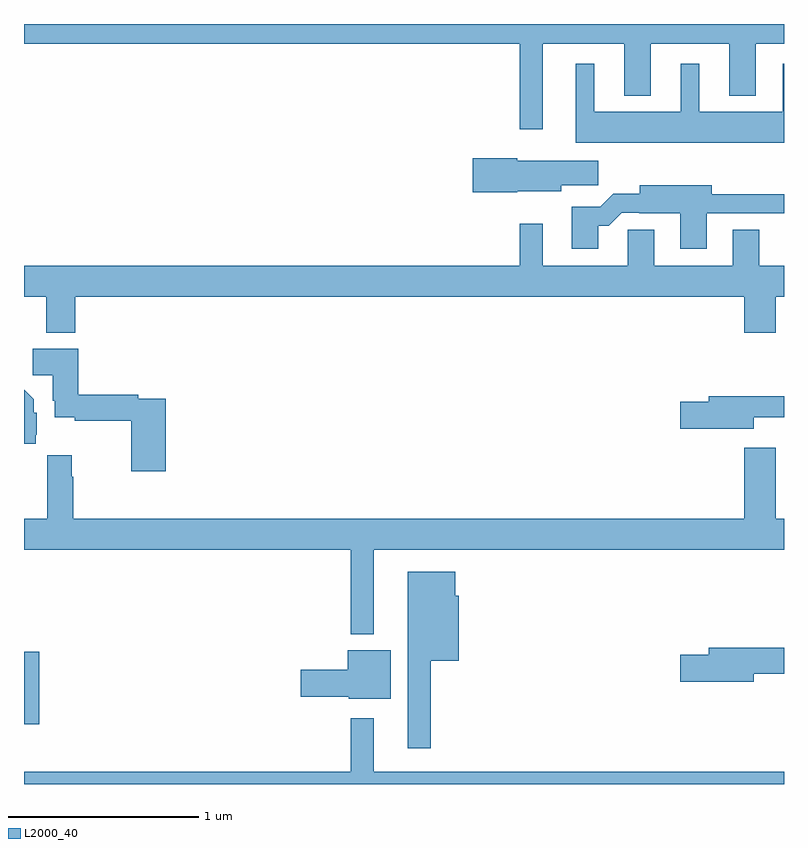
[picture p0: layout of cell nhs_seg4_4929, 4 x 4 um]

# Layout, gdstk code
import gdstk
lib = gdstk.Library(unit=1e-6, precision=1e-09)
def R(c, l, rs):  # rectangles x0, y0, x1, y1
    for r in rs: c.add(gdstk.rectangle(r[:2], r[2:], *l))
def P(c, l, *ps):  # polygons
    for p in ps: c.add(gdstk.Polygon(p, *l))
L2000_40 = (2000, 40)

nhs_seg4_4929 = lib.new_cell('nhs_seg4_4929')
R(nhs_seg4_4929, L2000_40, [(377,817.215,377.081,817.596)])
P(nhs_seg4_4929, L2000_40, [(379.729,820.796),(380.159,820.796),(380.159,820.523),(380.299,820.523),(380.299,820.796),(380.711,820.796),(380.711,820.523),(380.851,820.523),(380.851,820.796),(381,820.796),(381,820.9),(377,820.9),(377,820.796),(379.608,820.796),(379.608,820.347),(379.729,820.347)],
  [(381,820.69),(380.993,820.69),(380.993,820.438),(380.554,820.438),(380.554,820.69),(380.456,820.69),(380.456,820.438),(380.002,820.438),(380.002,820.69),(379.904,820.69),(379.904,820.274),(381,820.274)],
  [(379.596,820.019),(379.828,820.019),(379.828,820.051),(380.023,820.051),(380.023,820.18),(379.596,820.18),(379.596,820.193),(379.362,820.193),(379.362,820.015),(379.596,820.015)],
  [(380.023,819.839),(380.078,819.839),(380.145,819.906),(380.239,819.906),(380.239,819.903),(380.453,819.903),(380.453,819.717),(380.593,819.717),(380.593,819.903),(381,819.903),(381,820.004),(380.62,820.004),(380.62,820.051),(380.24,820.051),(380.24,820.007),(380.102,820.007),(380.032,819.937),(379.883,819.937),(379.883,819.717),(380.023,819.717)],
  [(377.27,819.464),(380.792,819.464),(380.792,819.276),(380.956,819.276),(380.956,819.464),(381,819.464),(381,819.628),(380.869,819.628),(380.869,819.818),(380.729,819.818),(380.729,819.628),(380.317,819.628),(380.317,819.818),(380.178,819.818),(380.178,819.628),(379.729,819.628),(379.729,819.85),(379.608,819.85),(379.608,819.628),(377,819.628),(377,819.464),(377.117,819.464),(377.117,819.275),(377.27,819.275)],
  [(377.747,818.928),(377.6,818.928),(377.6,818.948),(377.285,818.948),(377.285,819.19),(377.045,819.19),(377.045,819.052),(377.15,819.052),(377.15,818.916),(377.162,818.916),(377.162,818.831),(377.266,818.831),(377.266,818.812),(377.564,818.812),(377.564,818.547),(377.747,818.547)],
  [(377.063,818.739),(377.068,818.739),(377.068,818.853),(377.05,818.853),(377.05,818.926),(377,818.976),(377,818.69),(377.063,818.69)],
  [(380.842,818.831),(381,818.831),(381,818.941),(380.603,818.941),(380.603,818.912),(380.454,818.912),(380.454,818.77),(380.842,818.77)],
  [(378.841,818.132),(381,818.132),(381,818.296),(380.956,818.296),(380.956,818.671),(380.792,818.671),(380.792,818.296),(377.258,818.296),(377.258,818.516),(377.251,818.516),(377.251,818.629),(377.122,818.629),(377.122,818.296),(377,818.296),(377,818.132),(378.72,818.132),(378.72,817.688),(378.841,817.688)],
  [(379.141,817.55),(379.288,817.55),(379.288,817.89),(379.27,817.89),(379.27,818.017),(379.019,818.017),(379.019,817.089),(379.141,817.089)],
  [(380.842,817.48),(381,817.48),(381,817.616),(380.603,817.616),(380.603,817.58),(380.454,817.58),(380.454,817.438),(380.842,817.438)],
  [(378.931,817.603),(378.704,817.603),(378.704,817.502),(378.456,817.502),(378.456,817.36),(378.708,817.36),(378.708,817.349),(378.931,817.349)],
  [(381,816.964),(378.841,816.964),(378.841,817.246),(378.72,817.246),(378.72,816.964),(377,816.964),(377,816.9),(381,816.9)])

lib.write_gds('nhs_seg4_4929.gds')
